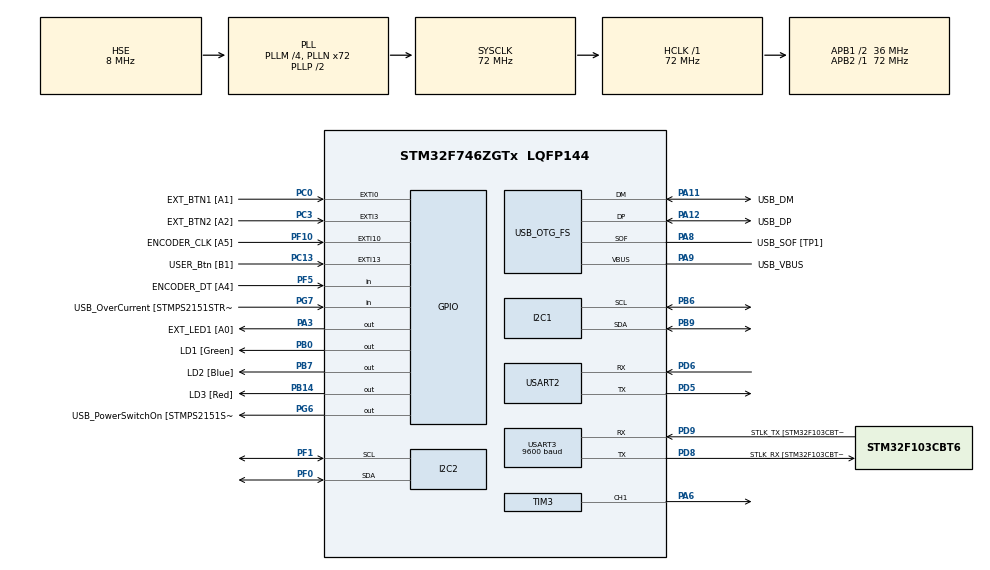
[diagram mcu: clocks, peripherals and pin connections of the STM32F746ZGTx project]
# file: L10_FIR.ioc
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I2C1.Timing=0x00808CD2
I2C2.Timing=0x00808CD2
Mcu.Family=STM32F7
Mcu.Name=STM32F746ZGTx
Mcu.Package=LQFP144
NVIC.EXTI0_IRQn=true\:0\:0\:false\:false\:true\:true\:true
NVIC.EXTI15_10_IRQn=true\:0\:0\:false\:false\:true\:true\:true
NVIC.EXTI3_IRQn=true\:0\:0\:false\:false\:true\:true\:true
NVIC.PriorityGroup=NVIC_PRIORITYGROUP_4
NVIC.TIM2_IRQn=true\:0\:0\:false\:false\:true\:true\:true
NVIC.TIM3_IRQn=true\:0\:0\:false\:false\:true\:true\:true
NVIC.TIM4_IRQn=true\:0\:0\:false\:false\:true\:true\:true
NVIC.USART3_IRQn=true\:0\:0\:false\:false\:true\:true\:true
PA1.GPIO_Label=RMII_REF_CLK [LAN8742A-CZ-TR_REFCLK0]
PA1.Signal=ETH_REF_CLK
PA10.GPIO_Label=USB_ID
PA10.Signal=USB_OTG_FS_ID
PA11.GPIO_Label=USB_DM
PA11.Mode=Device_Only
PA11.Signal=USB_OTG_FS_DM
PA12.GPIO_Label=USB_DP
PA12.Mode=Device_Only
PA12.Signal=USB_OTG_FS_DP
PA13.GPIO_Label=TMS
PA13.Mode=Serial_Wire
PA13.Signal=SYS_JTMS-SWDIO
PA14.GPIO_Label=TCK
PA14.Mode=Serial_Wire
PA14.Signal=SYS_JTCK-SWCLK
PA2.GPIO_Label=RMII_MDIO [LAN8742A-CZ-TR_MDIO]
PA2.Signal=ETH_MDIO
PA3.GPIO_Label=EXT_LED1 [A0]
PA3.Signal=GPIO_Output
PA6.Signal=S_TIM3_CH1
PA7.GPIO_Label=RMII_CRS_DV [LAN8742A-CZ-TR_CRS_DV]
PA7.Signal=ETH_CRS_DV
PA8.GPIO_Label=USB_SOF [TP1]
PA8.Mode=Activate_SOF_FS
PA8.Signal=USB_OTG_FS_SOF
PA9.GPIO_Label=USB_VBUS
PA9.Mode=Activate_VBUS
PA9.Signal=USB_OTG_FS_VBUS
PB0.GPIO_Label=LD1 [Green]
PB0.Signal=GPIO_Output
PB13.GPIO_Label=RMII_TXD1 [LAN8742A-CZ-TR_TXD1]
PB13.Signal=ETH_TXD1
PB14.GPIO_Label=LD3 [Red]
PB14.Signal=GPIO_Output
PB3.GPIO_Label=SW0
PB3.Signal=SYS_JTDO-SWO
PB6.Mode=I2C
PB6.Signal=I2C1_SCL
PB7.GPIO_Label=LD2 [Blue]
PB7.Signal=GPIO_Output
PB9.Mode=I2C
PB9.Signal=I2C1_SDA
PC0.GPIO_Label=EXT_BTN1 [A1]
PC0.GPIO_ModeDefaultEXTI=GPIO_MODE_IT_FALLING
PC0.Signal=GPXTI0
PC1.GPIO_Label=RMII_MDC [LAN8742A-CZ-TR_MDC]
PC1.Signal=ETH_MDC
PC13.GPIO_Label=USER_Btn [B1]
PC13.Signal=GPXTI13
PC14/OSC32_IN.Mode=LSE-External-Oscillator
PC14/OSC32_IN.Signal=RCC_OSC32_IN
PC15/OSC32_OUT.Mode=LSE-External-Oscillator
PC15/OSC32_OUT.Signal=RCC_OSC32_OUT
PC3.GPIO_Label=EXT_BTN2 [A2]
PC3.GPIO_ModeDefaultEXTI=GPIO_MODE_IT_RISING
PC3.Signal=GPXTI3
PC4.GPIO_Label=RMII_RXD0 [LAN8742A-CZ-TR_RXD0]
PC4.Signal=ETH_RXD0
PC5.GPIO_Label=RMII_RXD1 [LAN8742A-CZ-TR_RXD1]
PC5.Signal=ETH_RXD1
PD5.Mode=Asynchronous
PD5.Signal=USART2_TX
PD6.Mode=Asynchronous
PD6.Signal=USART2_RX
PD8.GPIO_Label=STLK_RX [STM32F103CBT6_PA3]
PD8.Mode=Asynchronous
PD8.Signal=USART3_TX
PD9.GPIO_Label=STLK_TX [STM32F103CBT6_PA2]
PD9.Mode=Asynchronous
PD9.Signal=USART3_RX
PF0.Mode=I2C
PF0.Signal=I2C2_SDA
PF1.Mode=I2C
PF1.Signal=I2C2_SCL
PF10.GPIO_Label=ENCODER_CLK [A5]
PF10.Signal=GPXTI10
PF5.GPIO_Label=ENCODER_DT [A4]
PF5.Signal=GPIO_Input
PG11.GPIO_Label=RMII_TX_EN [LAN8742A-CZ-TR_TXEN]
PG11.Signal=ETH_TX_EN
PG13.GPIO_Label=RMII_TXD0 [LAN8742A-CZ-TR_TXD0]
PG13.Signal=ETH_TXD0
PG6.GPIO_Label=USB_PowerSwitchOn [STMPS2151STR_EN]
PG6.Signal=GPIO_Output
PG7.GPIO_Label=USB_OverCurrent [STMPS2151STR_FAULT]
PG7.Signal=GPIO_Input
PH0/OSC_IN.GPIO_Label=MCO [STM32F103CBT6_PA8]
PH0/OSC_IN.Mode=HSE-External-Clock-Source
PH0/OSC_IN.Signal=RCC_OSC_IN
PH1/OSC_OUT.Mode=HSE-External-Clock-Source
PH1/OSC_OUT.Signal=RCC_OSC_OUT
ProjectManager.HeapSize=0x200
ProjectManager.StackSize=0x400
ProjectManager.TargetToolchain=STM32CubeIDE
RCC.48MHZClocksFreq_Value=24000000
RCC.AHBFreq_Value=72000000
RCC.APB1CLKDivider=RCC_HCLK_DIV2
RCC.APB1Freq_Value=36000000
RCC.APB1TimFreq_Value=72000000
RCC.APB2Freq_Value=72000000
RCC.APB2TimFreq_Value=72000000
RCC.CortexFreq_Value=72000000
RCC.HCLKFreq_Value=72000000
RCC.HSE_VALUE=8000000
RCC.HSI_VALUE=16000000
RCC.PLLM=4
RCC.PLLMUL=RCC_PLL_MUL9
RCC.PLLN=72
RCC.PLLQ=3
RCC.PRESCALERUSB=RCC_USBCLKSOURCE_PLL_DIV1_5
RCC.SYSCLKFreq_VALUE=72000000
RCC.SYSCLKSource=RCC_SYSCLKSOURCE_PLLCLK
RCC.SYSCLKSourceVirtual=RCC_SYSCLKSOURCE_PLLCLK
RCC.USBFreq_Value=48000000
RCC.VCOOutputFreq_Value=144000000
SH.S_TIM3_CH1.0=TIM3_CH1,PWM Generation1 CH1
TIM2.Period=999
TIM2.Prescaler=7199
TIM3.Channel-PWM\ Generation1\ CH1=TIM_CHANNEL_1
TIM3.Period=999
TIM3.Prescaler=71
TIM4.Period=4999
TIM4.Prescaler=7199
USART2.VirtualMode-Asynchronous=VM_ASYNC
USART3.BaudRate=9600
USART3.VirtualMode-Asynchronous=VM_ASYNC
USB_OTG_FS.VirtualMode=Device_Only
VP_TIM2_VS_ClockSourceINT.Mode=Internal
VP_TIM3_VS_ClockSourceINT.Mode=Internal
VP_TIM4_VS_ClockSourceINT.Mode=Internal
board=NUCLEO-F746ZG

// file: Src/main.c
/* USER CODE BEGIN Header */
/**
  ******************************************************************************
  * @file           : main.c
  * @brief          : Main program body
  ******************************************************************************
  * @attention
  *
  * <h2><center>&copy; Copyright (c) 2019 STMicroelectronics.
  * All rights reserved.</center></h2>
  *
  * This software component is licensed by ST under BSD 3-Clause license,
  * the "License"; You may not use this file except in compliance with the
  * License. You may obtain a copy of the License at:
  *                        opensource.org/licenses/BSD-3-Clause
  *
  ******************************************************************************
  */
/* USER CODE END Header */

#include "main.h"
#include "i2c.h"
#include "tim.h"
#include "usart.h"
#include "usb_otg.h"
#include "gpio.h"

/* USER CODE BEGIN Includes */
#include "i2c-lcd.h"
#include "arm_math.h"
#include "math_helper.h"
#include "bh1750.h"
#include "stdio.h"
#include "string.h"
#include "BrzozoweFunkcje.h"

/* USER CODE END Includes */

/* USER CODE BEGIN PV */

/*Gains*/
float KP = 0.25;
float KD = 0.0001;
float KI = 0.05;

/*instance of PID*/
arm_pid_instance_f32 CMSIS_PID_INSTANCE;

/*Measured and set values*/
uint16_t BH1750_READ = 0;
uint16_t SetValue = 0;

/*Received message*/
uint8_t ReceivedMsg[4];

/* USER CODE END PV */

void SystemClock_Config(void);

int main(void)
{
  /* USER CODE BEGIN 1 */

  /*We use our gains here*/
  CMSIS_PID_INSTANCE.Kp = KP;
  CMSIS_PID_INSTANCE.Ki = KI;
  CMSIS_PID_INSTANCE.Kd = KD;

  /* USER CODE END 1 */

  /* MCU Configuration--------------------------------------------------------*/

  /* Reset of all peripherals, Initializes the Flash interface and the Systick. */
  HAL_Init();

  /* Configure the system clock */
  SystemClock_Config();

  /* Initialize all configured peripherals */
  MX_GPIO_Init();
  MX_USB_OTG_FS_PCD_Init();
  MX_I2C1_Init();
  MX_I2C2_Init();
  MX_TIM3_Init();
  MX_TIM4_Init();
  MX_USART2_UART_Init();
  MX_TIM2_Init();
  MX_USART3_UART_Init();
  /* USER CODE BEGIN 2 */

  /* Initialize all configured peripherals */
  BH1750_Init(&hi2c1);
  BH1750_SetMode(CONTINUOUS_HIGH_RES_MODE_2);
  lcd_init();
  arm_pid_init_f32(&CMSIS_PID_INSTANCE, 1);
  HAL_TIM_Base_Start_IT(&htim2);
  HAL_TIM_Base_Start_IT(&htim4);
  HAL_TIM_PWM_Start(&htim3, TIM_CHANNEL_1);
  HAL_UART_Receive_IT(&huart3, &ReceivedMsg, 4);

  /* USER CODE END 2 */

  /* Infinite loop */
  while (1)
  {

  }
}

void SystemClock_Config(void)
{
  RCC_OscInitTypeDef RCC_OscInitStruct = {0};
  RCC_ClkInitTypeDef RCC_ClkInitStruct = {0};
  RCC_PeriphCLKInitTypeDef PeriphClkInitStruct = {0};

  /** Configure LSE Drive Capability
  */
  HAL_PWR_EnableBkUpAccess();
  /** Configure the main internal regulator output voltage
  */
  __HAL_RCC_PWR_CLK_ENABLE();
  __HAL_PWR_VOLTAGESCALING_CONFIG(PWR_REGULATOR_VOLTAGE_SCALE3);
  /** Initializes the CPU, AHB and APB busses clocks
  */
  RCC_OscInitStruct.OscillatorType = RCC_OSCILLATORTYPE_HSE;
  RCC_OscInitStruct.HSEState = RCC_HSE_BYPASS;
  RCC_OscInitStruct.PLL.PLLState = RCC_PLL_ON;
  RCC_OscInitStruct.PLL.PLLSource = RCC_PLLSOURCE_HSE;
  RCC_OscInitStruct.PLL.PLLM = 4;
  RCC_OscInitStruct.PLL.PLLN = 72;
  RCC_OscInitStruct.PLL.PLLP = RCC_PLLP_DIV2;
  RCC_OscInitStruct.PLL.PLLQ = 3;
  if (HAL_RCC_OscConfig(&RCC_OscInitStruct) != HAL_OK)
  {
    Error_Handler();
  }
  /** Initializes the CPU, AHB and APB busses clocks
  */
  RCC_ClkInitStruct.ClockType = RCC_CLOCKTYPE_HCLK|RCC_CLOCKTYPE_SYSCLK
                              |RCC_CLOCKTYPE_PCLK1|RCC_CLOCKTYPE_PCLK2;
  RCC_ClkInitStruct.SYSCLKSource = RCC_SYSCLKSOURCE_PLLCLK;
  RCC_ClkInitStruct.AHBCLKDivider = RCC_SYSCLK_DIV1;
  RCC_ClkInitStruct.APB1CLKDivider = RCC_HCLK_DIV2;
  RCC_ClkInitStruct.APB2CLKDivider = RCC_HCLK_DIV1;

  if (HAL_RCC_ClockConfig(&RCC_ClkInitStruct, FLASH_LATENCY_2) != HAL_OK)
  {
    Error_Handler();
  }
  PeriphClkInitStruct.PeriphClockSelection = RCC_PERIPHCLK_USART2|RCC_PERIPHCLK_USART3
                              |RCC_PERIPHCLK_I2C1|RCC_PERIPHCLK_I2C2
                              |RCC_PERIPHCLK_CLK48;
  PeriphClkInitStruct.Usart2ClockSelection = RCC_USART2CLKSOURCE_PCLK1;
  PeriphClkInitStruct.Usart3ClockSelection = RCC_USART3CLKSOURCE_PCLK1;
  PeriphClkInitStruct.I2c1ClockSelection = RCC_I2C1CLKSOURCE_PCLK1;
  PeriphClkInitStruct.I2c2ClockSelection = RCC_I2C2CLKSOURCE_PCLK1;
  PeriphClkInitStruct.Clk48ClockSelection = RCC_CLK48SOURCE_PLL;
  if (HAL_RCCEx_PeriphCLKConfig(&PeriphClkInitStruct) != HAL_OK)
  {
    Error_Handler();
  }
}

/* USER CODE BEGIN 4 */
void HAL_TIM_PeriodElapsedCallback (TIM_HandleTypeDef * htim)
{
	if(htim->Instance == TIM2)
	{
		BH1750_READ = MeasureBH1750();
		CalculatePID(SetValue, BH1750_READ, &CMSIS_PID_INSTANCE);
	}

	if(htim->Instance == TIM4)
	{

		RewriteLCD(SetValue, BH1750_READ);
	}

}
void HAL_UART_RxCpltCallback(UART_HandleTypeDef *huart)
{
	SetValue = atoi(ReceivedMsg);
	for(int i=0;i<4;i++)
	{
		ReceivedMsg[i] =0;
	}
	HAL_UART_Receive_IT(&huart3, &ReceivedMsg, 4);
}
void HAL_GPIO_EXTI_Callback(uint16_t GPIO_Pin)
{

}
/* USER CODE END 4 */

void Error_Handler(void)
{
  /* USER CODE BEGIN Error_Handler_Debug */
  /* User can add his own implementation to report the HAL error return state */
  HAL_GPIO_WritePin(LD1_GPIO_Port, LD1_Pin, GPIO_PIN_RESET);
  HAL_GPIO_WritePin(LD2_GPIO_Port, LD2_Pin, GPIO_PIN_RESET);
  HAL_GPIO_WritePin(LD3_GPIO_Port, LD3_Pin, GPIO_PIN_RESET);
  while(1)
  {
	  HAL_GPIO_TogglePin(LD3_GPIO_Port, LD3_Pin);
	  HAL_Delay(100);
  }
  /* USER CODE END Error_Handler_Debug */
}

/************************ (C) COPYRIGHT STMicroelectronics *****END OF FILE****/
